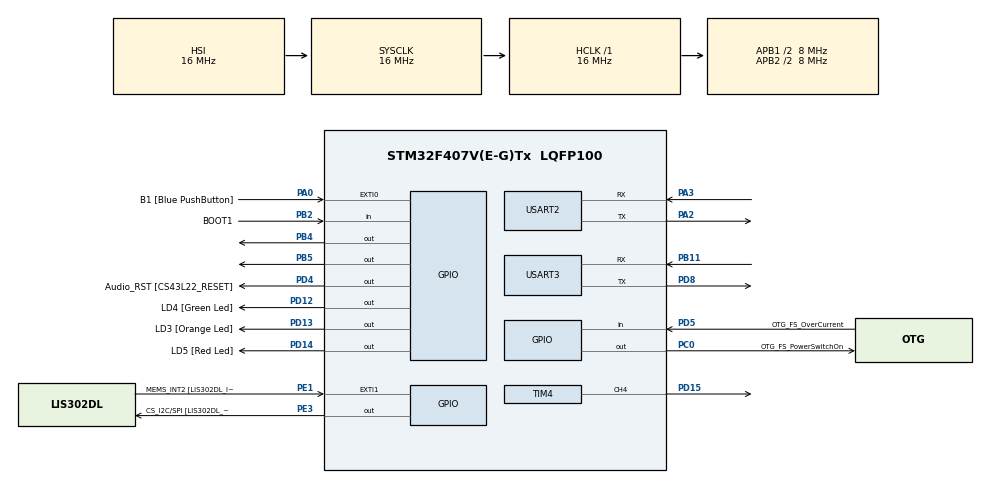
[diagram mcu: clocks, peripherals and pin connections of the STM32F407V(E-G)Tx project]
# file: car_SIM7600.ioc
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Mcu.Family=STM32F4
Mcu.Name=STM32F407V(E-G)Tx
Mcu.Package=LQFP100
NVIC.EXTI0_IRQn=true\:0\:0\:false\:false\:true\:true\:true\:true
NVIC.PriorityGroup=NVIC_PRIORITYGROUP_0
NVIC.TIM4_IRQn=true\:0\:0\:false\:false\:true\:true\:true\:true
NVIC.USART2_IRQn=true\:0\:0\:false\:false\:true\:true\:true\:true
NVIC.USART3_IRQn=true\:0\:0\:false\:false\:true\:true\:true\:true
PA0-WKUP.GPIO_Label=B1 [Blue PushButton]
PA0-WKUP.Signal=GPXTI0
PA10.GPIO_Label=OTG_FS_ID
PA10.GPIO_Mode=GPIO_MODE_AF_PP
PA10.GPIO_PuPd=GPIO_NOPULL
PA10.GPIO_Speed=GPIO_SPEED_FREQ_LOW
PA10.Signal=USB_OTG_FS_ID
PA11.GPIO_Label=OTG_FS_DM
PA11.GPIO_Mode=GPIO_MODE_AF_PP
PA11.GPIO_PuPd=GPIO_NOPULL
PA11.GPIO_Speed=GPIO_SPEED_FREQ_LOW
PA11.Signal=USB_OTG_FS_DM
PA12.GPIO_Label=OTG_FS_DP
PA12.GPIO_Mode=GPIO_MODE_AF_PP
PA12.GPIO_PuPd=GPIO_NOPULL
PA12.GPIO_Speed=GPIO_SPEED_FREQ_LOW
PA12.Signal=USB_OTG_FS_DP
PA13.GPIO_Label=SWDIO
PA13.Signal=SYS_JTMS-SWDIO
PA14.GPIO_Label=SWCLK
PA14.Signal=SYS_JTCK-SWCLK
PA2.Mode=Asynchronous
PA2.Signal=USART2_TX
PA3.Mode=Asynchronous
PA3.Signal=USART2_RX
PA4.GPIO_Label=I2S3_WS [CS43L22_LRCK]
PA4.GPIO_Mode=GPIO_MODE_AF_PP
PA4.GPIO_PuPd=GPIO_NOPULL
PA4.GPIO_Speed=GPIO_SPEED_FREQ_LOW
PA4.Signal=I2S3_WS
PA5.GPIO_Label=SPI1_SCK [LIS302DL_SCL/SPC]
PA5.GPIO_Mode=GPIO_MODE_AF_PP
PA5.GPIO_PuPd=GPIO_NOPULL
PA5.GPIO_Speed=GPIO_SPEED_FREQ_LOW
PA5.Signal=SPI1_SCK
PA6.GPIO_Label=SPI1_MISO [LIS302DL_SDO]
PA6.GPIO_Mode=GPIO_MODE_AF_PP
PA6.GPIO_PuPd=GPIO_NOPULL
PA6.GPIO_Speed=GPIO_SPEED_FREQ_LOW
PA6.Signal=SPI1_MISO
PA7.GPIO_Label=SPI1_MOSI [LIS302DL_SDA/SDI/SDO]
PA7.GPIO_Mode=GPIO_MODE_AF_PP
PA7.GPIO_PuPd=GPIO_NOPULL
PA7.GPIO_Speed=GPIO_SPEED_FREQ_LOW
PA7.Signal=SPI1_MOSI
PA9.GPIO_Label=VBUS_FS
PA9.GPIO_Mode=GPIO_MODE_INPUT
PA9.GPIO_PuPd=GPIO_NOPULL
PA9.Signal=USB_OTG_FS_VBUS
PB10.GPIO_Label=CLK_IN [MP45DT02_CLK]
PB10.GPIO_Mode=GPIO_MODE_AF_PP
PB10.GPIO_PuPd=GPIO_NOPULL
PB10.GPIO_Speed=GPIO_SPEED_FREQ_LOW
PB10.Signal=I2S2_CK
PB11.Mode=Asynchronous
PB11.Signal=USART3_RX
PB2.GPIO_Label=BOOT1
PB2.GPIO_Mode=GPIO_MODE_INPUT
PB2.GPIO_PuPd=GPIO_NOPULL
PB2.Signal=GPIO_Input
PB3.GPIO_Label=SWO
PB3.Signal=SYS_JTDO-SWO
PB4.Signal=GPIO_Output
PB5.Signal=GPIO_Output
PB6.GPIO_Label=Audio_SCL [CS43L22_SCL]
PB6.GPIO_Mode=GPIO_MODE_AF_OD
PB6.GPIO_PuPd=GPIO_NOPULL
PB6.GPIO_Speed=GPIO_SPEED_FREQ_LOW
PB6.Signal=I2C1_SCL
PB9.GPIO_Label=Audio_SDA [CS43L22_SDA]
PB9.GPIO_Mode=GPIO_MODE_AF_OD
PB9.GPIO_PuPd=GPIO_NOPULL
PB9.GPIO_Speed=GPIO_SPEED_FREQ_LOW
PB9.Signal=I2C1_SDA
PC0.GPIO_Label=OTG_FS_PowerSwitchOn
PC0.GPIO_PuPd=GPIO_NOPULL
PC0.GPIO_Speed=GPIO_SPEED_FREQ_LOW
PC0.PinState=GPIO_PIN_SET
PC0.Signal=GPIO_Output
PC10.GPIO_Label=I2S3_SCK [CS43L22_SCLK]
PC10.GPIO_Mode=GPIO_MODE_AF_PP
PC10.GPIO_PuPd=GPIO_NOPULL
PC10.GPIO_Speed=GPIO_SPEED_FREQ_LOW
PC10.Signal=I2S3_CK
PC12.GPIO_Label=I2S3_SD [CS43L22_SDIN]
PC12.GPIO_Mode=GPIO_MODE_AF_PP
PC12.GPIO_PuPd=GPIO_NOPULL
PC12.GPIO_Speed=GPIO_SPEED_FREQ_LOW
PC12.Signal=I2S3_SD
PC14-OSC32_IN.GPIO_Label=PC14-OSC32_IN
PC14-OSC32_IN.Signal=RCC_OSC32_IN
PC15-OSC32_OUT.GPIO_Label=PC15-OSC32_OUT
PC15-OSC32_OUT.Signal=RCC_OSC32_OUT
PC3.GPIO_Label=PDM_OUT [MP45DT02_DOUT]
PC3.GPIO_Mode=GPIO_MODE_AF_PP
PC3.GPIO_PuPd=GPIO_NOPULL
PC3.GPIO_Speed=GPIO_SPEED_FREQ_LOW
PC3.Signal=I2S2_SD
PC7.GPIO_Label=I2S3_MCK [CS43L22_MCLK]
PC7.GPIO_Mode=GPIO_MODE_AF_PP
PC7.GPIO_PuPd=GPIO_NOPULL
PC7.GPIO_Speed=GPIO_SPEED_FREQ_LOW
PC7.Signal=I2S3_MCK
PD12.GPIO_Label=LD4 [Green Led]
PD12.GPIO_PuPd=GPIO_NOPULL
PD12.GPIO_Speed=GPIO_SPEED_FREQ_LOW
PD12.Signal=GPIO_Output
PD13.GPIO_Label=LD3 [Orange Led]
PD13.GPIO_PuPd=GPIO_NOPULL
PD13.GPIO_Speed=GPIO_SPEED_FREQ_LOW
PD13.Signal=GPIO_Output
PD14.GPIO_Label=LD5 [Red Led]
PD14.GPIO_PuPd=GPIO_NOPULL
PD14.GPIO_Speed=GPIO_SPEED_FREQ_LOW
PD14.Signal=GPIO_Output
PD15.Signal=S_TIM4_CH4
PD4.GPIO_Label=Audio_RST [CS43L22_RESET]
PD4.GPIO_PuPd=GPIO_NOPULL
PD4.GPIO_Speed=GPIO_SPEED_FREQ_LOW
PD4.Signal=GPIO_Output
PD5.GPIO_Label=OTG_FS_OverCurrent
PD5.GPIO_Mode=GPIO_MODE_INPUT
PD5.GPIO_PuPd=GPIO_NOPULL
PD5.Signal=GPIO_Input
PD8.Mode=Asynchronous
PD8.Signal=USART3_TX
PE1.GPIO_Label=MEMS_INT2 [LIS302DL_INT2]
PE1.GPIO_ModeDefaultEXTI=GPIO_MODE_EVT_RISING
PE1.GPIO_PuPd=GPIO_NOPULL
PE1.Signal=GPXTI1
PE3.GPIO_Label=CS_I2C/SPI [LIS302DL_CS_I2C/SPI]
PE3.GPIO_PuPd=GPIO_NOPULL
PE3.GPIO_Speed=GPIO_SPEED_FREQ_LOW
PE3.Signal=GPIO_Output
PH0-OSC_IN.GPIO_Label=PH0-OSC_IN
PH0-OSC_IN.Signal=RCC_OSC_IN
PH1-OSC_OUT.GPIO_Label=PH1-OSC_OUT
PH1-OSC_OUT.Signal=RCC_OSC_OUT
ProjectManager.HeapSize=0x200
ProjectManager.StackSize=0x400
ProjectManager.TargetToolchain=STM32CubeIDE
RCC.48MHZClocksFreq_Value=14285714.285714285
RCC.AHBFreq_Value=16000000
RCC.APB1CLKDivider=RCC_HCLK_DIV2
RCC.APB1Freq_Value=8000000
RCC.APB1TimFreq_Value=16000000
RCC.APB2CLKDivider=RCC_HCLK_DIV2
RCC.APB2Freq_Value=8000000
RCC.APB2TimFreq_Value=16000000
RCC.CortexFreq_Value=16000000
RCC.HCLKFreq_Value=16000000
RCC.HSE_VALUE=8000000
RCC.HSI_VALUE=16000000
RCC.LSE_VALUE=32768
RCC.PLLM=8
RCC.PLLN=50
RCC.PLLQ=7
RCC.SYSCLKFreq_VALUE=16000000
RCC.VCOOutputFreq_Value=100000000
SH.S_TIM4_CH4.0=TIM4_CH4,PWM Generation4 CH4
TIM4.AutoReloadPreload=TIM_AUTORELOAD_PRELOAD_ENABLE
TIM4.Channel-PWM\ Generation4\ CH4=TIM_CHANNEL_4
TIM4.Period=49999
TIM4.Prescaler=4
USART2.VirtualMode=VM_ASYNC
USART3.VirtualMode=VM_ASYNC
VP_TIM4_VS_ClockSourceINT.Mode=Internal
board=STM32F407G-DISC1

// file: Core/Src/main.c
/* USER CODE BEGIN Header */
/**
 ******************************************************************************
 * @file           : main.c
 * @brief          : Main program body
 ******************************************************************************
 * @attention
 *
 * Copyright (c) 2024 STMicroelectronics.
 * All rights reserved.
 *
 * This software is licensed under terms that can be found in the LICENSE file
 * in the root directory of this software component.
 * If no LICENSE file comes with this software, it is provided AS-IS.
 *
 ******************************************************************************
 */
/* USER CODE END Header */
#include "main.h"

/* USER CODE BEGIN Includes */
#include <string.h>
#include <stdio.h>
#include "sim7600.h"
/* USER CODE END Includes */

TIM_HandleTypeDef htim4;
UART_HandleTypeDef huart2;
UART_HandleTypeDef huart3;

void SystemClock_Config(void);
static void MX_GPIO_Init(void);
static void MX_USART2_UART_Init(void);
static void MX_USART3_UART_Init(void);
static void MX_TIM4_Init(void);

int main(void) {
	/* USER CODE BEGIN 1 */
	// This program will first initialize connection with AWS IoT MQTT broken.
	// If a message is published on topic/cmd, the message received from SIM7600 module will be received on uart3,
	// it will then log to uart3
	//
	// If a user button is pressed on STM32, it will publish a message on topic/sensor
	/* USER CODE END 1 */

	/* MCU Configuration--------------------------------------------------------*/

	/* Reset of all peripherals, Initializes the Flash interface and the Systick. */
	HAL_Init();

	/* Configure the system clock */
	SystemClock_Config();

	/* Initialize all configured peripherals */
	MX_GPIO_Init();
	MX_USART2_UART_Init();
	MX_USART3_UART_Init();
	MX_TIM4_Init();
	/* USER CODE BEGIN 2 */
	HAL_UART_Transmit(&huart2, (uint8_t*) "App started.\r\n",
			strlen("App started.\r\n"),
			HAL_MAX_DELAY);

	// 1. Timer4 PWM set up.
	if (HAL_TIM_Base_Start_IT(&htim4) != HAL_OK) {
		HAL_UART_Transmit(&huart2,
				(uint8_t*) "Error initializing base timer\r\n",
				strlen("Error initializing base timer\r\n"),
				HAL_MAX_DELAY);
		Error_Handler();
	}
	if (HAL_TIM_PWM_Start(&htim4, TIM_CHANNEL_4)) {
		HAL_UART_Transmit(&huart2,
				(uint8_t*) "Error initializing pwm timer\r\n",
				strlen("Error initializing pwm timer\r\n"),
				HAL_MAX_DELAY);
		Error_Handler();
	}

	// 2. MQTT and GPS setup.
	sim_huart_init(&huart3, &huart2, &htim4, TIM_CHANNEL_4);
	sim_mqtt_gps_init();

	/* USER CODE END 2 */

	/* USER CODE BEGIN WHILE */
	while (1) {

		sim_process_received_data();

		/* USER CODE END WHILE */

	}
}

void SystemClock_Config(void) {
	RCC_OscInitTypeDef RCC_OscInitStruct = { 0 };
	RCC_ClkInitTypeDef RCC_ClkInitStruct = { 0 };

	/** Configure the main internal regulator output voltage
	 */
	__HAL_RCC_PWR_CLK_ENABLE();
	__HAL_PWR_VOLTAGESCALING_CONFIG(PWR_REGULATOR_VOLTAGE_SCALE1);

	/** Initializes the RCC Oscillators according to the specified parameters
	 * in the RCC_OscInitTypeDef structure.
	 */
	RCC_OscInitStruct.OscillatorType = RCC_OSCILLATORTYPE_HSI;
	RCC_OscInitStruct.HSIState = RCC_HSI_ON;
	RCC_OscInitStruct.HSICalibrationValue = RCC_HSICALIBRATION_DEFAULT;
	RCC_OscInitStruct.PLL.PLLState = RCC_PLL_NONE;
	if (HAL_RCC_OscConfig(&RCC_OscInitStruct) != HAL_OK) {
		Error_Handler();
	}

	/** Initializes the CPU, AHB and APB buses clocks
	 */
	RCC_ClkInitStruct.ClockType = RCC_CLOCKTYPE_HCLK | RCC_CLOCKTYPE_SYSCLK
			| RCC_CLOCKTYPE_PCLK1 | RCC_CLOCKTYPE_PCLK2;
	RCC_ClkInitStruct.SYSCLKSource = RCC_SYSCLKSOURCE_HSI;
	RCC_ClkInitStruct.AHBCLKDivider = RCC_SYSCLK_DIV1;
	RCC_ClkInitStruct.APB1CLKDivider = RCC_HCLK_DIV2;
	RCC_ClkInitStruct.APB2CLKDivider = RCC_HCLK_DIV2;

	if (HAL_RCC_ClockConfig(&RCC_ClkInitStruct, FLASH_LATENCY_0) != HAL_OK) {
		Error_Handler();
	}
}

static void MX_TIM4_Init(void) {

	TIM_ClockConfigTypeDef sClockSourceConfig = { 0 };
	TIM_MasterConfigTypeDef sMasterConfig = { 0 };
	TIM_OC_InitTypeDef sConfigOC = { 0 };

	/* USER CODE BEGIN TIM4_Init 1 */
	// ARR is 49999
	// Timer 4 clock is 16Mhz
	/* USER CODE END TIM4_Init 1 */
	htim4.Instance = TIM4;
	htim4.Init.Prescaler = 4;
	htim4.Init.CounterMode = TIM_COUNTERMODE_UP;
	htim4.Init.Period = 49999;
	htim4.Init.ClockDivision = TIM_CLOCKDIVISION_DIV1;
	htim4.Init.AutoReloadPreload = TIM_AUTORELOAD_PRELOAD_ENABLE;
	if (HAL_TIM_Base_Init(&htim4) != HAL_OK) {
		Error_Handler();
	}
	sClockSourceConfig.ClockSource = TIM_CLOCKSOURCE_INTERNAL;
	if (HAL_TIM_ConfigClockSource(&htim4, &sClockSourceConfig) != HAL_OK) {
		Error_Handler();
	}
	if (HAL_TIM_PWM_Init(&htim4) != HAL_OK) {
		Error_Handler();
	}
	sMasterConfig.MasterOutputTrigger = TIM_TRGO_RESET;
	sMasterConfig.MasterSlaveMode = TIM_MASTERSLAVEMODE_DISABLE;
	if (HAL_TIMEx_MasterConfigSynchronization(&htim4, &sMasterConfig)
			!= HAL_OK) {
		Error_Handler();
	}
	sConfigOC.OCMode = TIM_OCMODE_PWM1;
	sConfigOC.Pulse = 0;
	sConfigOC.OCPolarity = TIM_OCPOLARITY_HIGH;
	sConfigOC.OCFastMode = TIM_OCFAST_DISABLE;
	if (HAL_TIM_PWM_ConfigChannel(&htim4, &sConfigOC, TIM_CHANNEL_4)
			!= HAL_OK) {
		Error_Handler();
	}
	HAL_TIM_MspPostInit(&htim4);

}

static void MX_USART2_UART_Init(void) {

	huart2.Instance = USART2;
	huart2.Init.BaudRate = 115200;
	huart2.Init.WordLength = UART_WORDLENGTH_8B;
	huart2.Init.StopBits = UART_STOPBITS_1;
	huart2.Init.Parity = UART_PARITY_NONE;
	huart2.Init.Mode = UART_MODE_TX_RX;
	huart2.Init.HwFlowCtl = UART_HWCONTROL_NONE;
	huart2.Init.OverSampling = UART_OVERSAMPLING_16;
	if (HAL_UART_Init(&huart2) != HAL_OK) {
		Error_Handler();
	}

}

static void MX_USART3_UART_Init(void) {

	huart3.Instance = USART3;
	huart3.Init.BaudRate = 115200;
	huart3.Init.WordLength = UART_WORDLENGTH_8B;
	huart3.Init.StopBits = UART_STOPBITS_1;
	huart3.Init.Parity = UART_PARITY_NONE;
	huart3.Init.Mode = UART_MODE_TX_RX;
	huart3.Init.HwFlowCtl = UART_HWCONTROL_NONE;
	huart3.Init.OverSampling = UART_OVERSAMPLING_16;
	if (HAL_UART_Init(&huart3) != HAL_OK) {
		Error_Handler();
	}

}

static void MX_GPIO_Init(void) {
	GPIO_InitTypeDef GPIO_InitStruct = { 0 };

	/* GPIO Ports Clock Enable */
	__HAL_RCC_GPIOE_CLK_ENABLE();
	__HAL_RCC_GPIOC_CLK_ENABLE();
	__HAL_RCC_GPIOH_CLK_ENABLE();
	__HAL_RCC_GPIOA_CLK_ENABLE();
	__HAL_RCC_GPIOB_CLK_ENABLE();
	__HAL_RCC_GPIOD_CLK_ENABLE();

	/*Configure GPIO pin Output Level */
	HAL_GPIO_WritePin(CS_I2C_SPI_GPIO_Port, CS_I2C_SPI_Pin, GPIO_PIN_RESET);

	/*Configure GPIO pin Output Level */
	HAL_GPIO_WritePin(OTG_FS_PowerSwitchOn_GPIO_Port, OTG_FS_PowerSwitchOn_Pin,
			GPIO_PIN_SET);

	/*Configure GPIO pin Output Level */
	HAL_GPIO_WritePin(GPIOD, LD4_Pin | LD3_Pin | LD5_Pin | Audio_RST_Pin,
			GPIO_PIN_RESET);

	/*Configure GPIO pin Output Level */
	HAL_GPIO_WritePin(GPIOB, GPIO_PIN_4 | GPIO_PIN_5, GPIO_PIN_RESET);

	/*Configure GPIO pin : CS_I2C_SPI_Pin */
	GPIO_InitStruct.Pin = CS_I2C_SPI_Pin;
	GPIO_InitStruct.Mode = GPIO_MODE_OUTPUT_PP;
	GPIO_InitStruct.Pull = GPIO_NOPULL;
	GPIO_InitStruct.Speed = GPIO_SPEED_FREQ_LOW;
	HAL_GPIO_Init(CS_I2C_SPI_GPIO_Port, &GPIO_InitStruct);

	/*Configure GPIO pin : OTG_FS_PowerSwitchOn_Pin */
	GPIO_InitStruct.Pin = OTG_FS_PowerSwitchOn_Pin;
	GPIO_InitStruct.Mode = GPIO_MODE_OUTPUT_PP;
	GPIO_InitStruct.Pull = GPIO_NOPULL;
	GPIO_InitStruct.Speed = GPIO_SPEED_FREQ_LOW;
	HAL_GPIO_Init(OTG_FS_PowerSwitchOn_GPIO_Port, &GPIO_InitStruct);

	/*Configure GPIO pin : PDM_OUT_Pin */
	GPIO_InitStruct.Pin = PDM_OUT_Pin;
	GPIO_InitStruct.Mode = GPIO_MODE_AF_PP;
	GPIO_InitStruct.Pull = GPIO_NOPULL;
	GPIO_InitStruct.Speed = GPIO_SPEED_FREQ_LOW;
	GPIO_InitStruct.Alternate = GPIO_AF5_SPI2;
	HAL_GPIO_Init(PDM_OUT_GPIO_Port, &GPIO_InitStruct);

	/*Configure GPIO pin : B1_Pin */
	GPIO_InitStruct.Pin = B1_Pin;
	GPIO_InitStruct.Mode = GPIO_MODE_IT_RISING;
	GPIO_InitStruct.Pull = GPIO_NOPULL;
	HAL_GPIO_Init(B1_GPIO_Port, &GPIO_InitStruct);

	/*Configure GPIO pin : I2S3_WS_Pin */
	GPIO_InitStruct.Pin = I2S3_WS_Pin;
	GPIO_InitStruct.Mode = GPIO_MODE_AF_PP;
	GPIO_InitStruct.Pull = GPIO_NOPULL;
	GPIO_InitStruct.Speed = GPIO_SPEED_FREQ_LOW;
	GPIO_InitStruct.Alternate = GPIO_AF6_SPI3;
	HAL_GPIO_Init(I2S3_WS_GPIO_Port, &GPIO_InitStruct);

	/*Configure GPIO pins : SPI1_SCK_Pin SPI1_MISO_Pin SPI1_MOSI_Pin */
	GPIO_InitStruct.Pin = SPI1_SCK_Pin | SPI1_MISO_Pin | SPI1_MOSI_Pin;
	GPIO_InitStruct.Mode = GPIO_MODE_AF_PP;
	GPIO_InitStruct.Pull = GPIO_NOPULL;
	GPIO_InitStruct.Speed = GPIO_SPEED_FREQ_LOW;
	GPIO_InitStruct.Alternate = GPIO_AF5_SPI1;
	HAL_GPIO_Init(GPIOA, &GPIO_InitStruct);

	/*Configure GPIO pin : BOOT1_Pin */
	GPIO_InitStruct.Pin = BOOT1_Pin;
	GPIO_InitStruct.Mode = GPIO_MODE_INPUT;
	GPIO_InitStruct.Pull = GPIO_NOPULL;
	HAL_GPIO_Init(BOOT1_GPIO_Port, &GPIO_InitStruct);

	/*Configure GPIO pin : CLK_IN_Pin */
	GPIO_InitStruct.Pin = CLK_IN_Pin;
	GPIO_InitStruct.Mode = GPIO_MODE_AF_PP;
	GPIO_InitStruct.Pull = GPIO_NOPULL;
	GPIO_InitStruct.Speed = GPIO_SPEED_FREQ_LOW;
	GPIO_InitStruct.Alternate = GPIO_AF5_SPI2;
	HAL_GPIO_Init(CLK_IN_GPIO_Port, &GPIO_InitStruct);

	/*Configure GPIO pins : LD4_Pin LD3_Pin LD5_Pin Audio_RST_Pin */
	GPIO_InitStruct.Pin = LD4_Pin | LD3_Pin | LD5_Pin | Audio_RST_Pin;
	GPIO_InitStruct.Mode = GPIO_MODE_OUTPUT_PP;
	GPIO_InitStruct.Pull = GPIO_NOPULL;
	GPIO_InitStruct.Speed = GPIO_SPEED_FREQ_LOW;
	HAL_GPIO_Init(GPIOD, &GPIO_InitStruct);

	/*Configure GPIO pins : I2S3_MCK_Pin I2S3_SCK_Pin I2S3_SD_Pin */
	GPIO_InitStruct.Pin = I2S3_MCK_Pin | I2S3_SCK_Pin | I2S3_SD_Pin;
	GPIO_InitStruct.Mode = GPIO_MODE_AF_PP;
	GPIO_InitStruct.Pull = GPIO_NOPULL;
	GPIO_InitStruct.Speed = GPIO_SPEED_FREQ_LOW;
	GPIO_InitStruct.Alternate = GPIO_AF6_SPI3;
	HAL_GPIO_Init(GPIOC, &GPIO_InitStruct);

	/*Configure GPIO pin : VBUS_FS_Pin */
	GPIO_InitStruct.Pin = VBUS_FS_Pin;
	GPIO_InitStruct.Mode = GPIO_MODE_INPUT;
	GPIO_InitStruct.Pull = GPIO_NOPULL;
	HAL_GPIO_Init(VBUS_FS_GPIO_Port, &GPIO_InitStruct);

	/*Configure GPIO pins : OTG_FS_ID_Pin OTG_FS_DM_Pin OTG_FS_DP_Pin */
	GPIO_InitStruct.Pin = OTG_FS_ID_Pin | OTG_FS_DM_Pin | OTG_FS_DP_Pin;
	GPIO_InitStruct.Mode = GPIO_MODE_AF_PP;
	GPIO_InitStruct.Pull = GPIO_NOPULL;
	GPIO_InitStruct.Speed = GPIO_SPEED_FREQ_LOW;
	GPIO_InitStruct.Alternate = GPIO_AF10_OTG_FS;
	HAL_GPIO_Init(GPIOA, &GPIO_InitStruct);

	/*Configure GPIO pin : OTG_FS_OverCurrent_Pin */
	GPIO_InitStruct.Pin = OTG_FS_OverCurrent_Pin;
	GPIO_InitStruct.Mode = GPIO_MODE_INPUT;
	GPIO_InitStruct.Pull = GPIO_NOPULL;
	HAL_GPIO_Init(OTG_FS_OverCurrent_GPIO_Port, &GPIO_InitStruct);

	/*Configure GPIO pins : PB4 PB5 */
	GPIO_InitStruct.Pin = GPIO_PIN_4 | GPIO_PIN_5;
	GPIO_InitStruct.Mode = GPIO_MODE_OUTPUT_PP;
	GPIO_InitStruct.Pull = GPIO_NOPULL;
	GPIO_InitStruct.Speed = GPIO_SPEED_FREQ_LOW;
	HAL_GPIO_Init(GPIOB, &GPIO_InitStruct);

	/*Configure GPIO pins : Audio_SCL_Pin Audio_SDA_Pin */
	GPIO_InitStruct.Pin = Audio_SCL_Pin | Audio_SDA_Pin;
	GPIO_InitStruct.Mode = GPIO_MODE_AF_OD;
	GPIO_InitStruct.Pull = GPIO_NOPULL;
	GPIO_InitStruct.Speed = GPIO_SPEED_FREQ_LOW;
	GPIO_InitStruct.Alternate = GPIO_AF4_I2C1;
	HAL_GPIO_Init(GPIOB, &GPIO_InitStruct);

	/*Configure GPIO pin : MEMS_INT2_Pin */
	GPIO_InitStruct.Pin = MEMS_INT2_Pin;
	GPIO_InitStruct.Mode = GPIO_MODE_EVT_RISING;
	GPIO_InitStruct.Pull = GPIO_NOPULL;
	HAL_GPIO_Init(MEMS_INT2_GPIO_Port, &GPIO_InitStruct);

	/* EXTI interrupt init*/
	HAL_NVIC_SetPriority(EXTI0_IRQn, 0, 0);
	HAL_NVIC_EnableIRQ(EXTI0_IRQn);

}

/* USER CODE BEGIN 4 */

/**
 * Call back function everytime we receive a single byte in UART.
 */
void HAL_UART_RxCpltCallback(UART_HandleTypeDef *huart) {

	// Received a byte from SIM7600 module.
	if (huart == &huart3) {
		sim_handle_byte();
	}
}

void HAL_GPIO_EXTI_Callback(uint16_t GPIO_Pin) {
	if (GPIO_Pin == B1_Pin) // Check if the interrupt comes from the button pin
	{
	}
}

/* USER CODE END 4 */

void Error_Handler(void) {
	__disable_irq();
	while (1) {
	}
}
